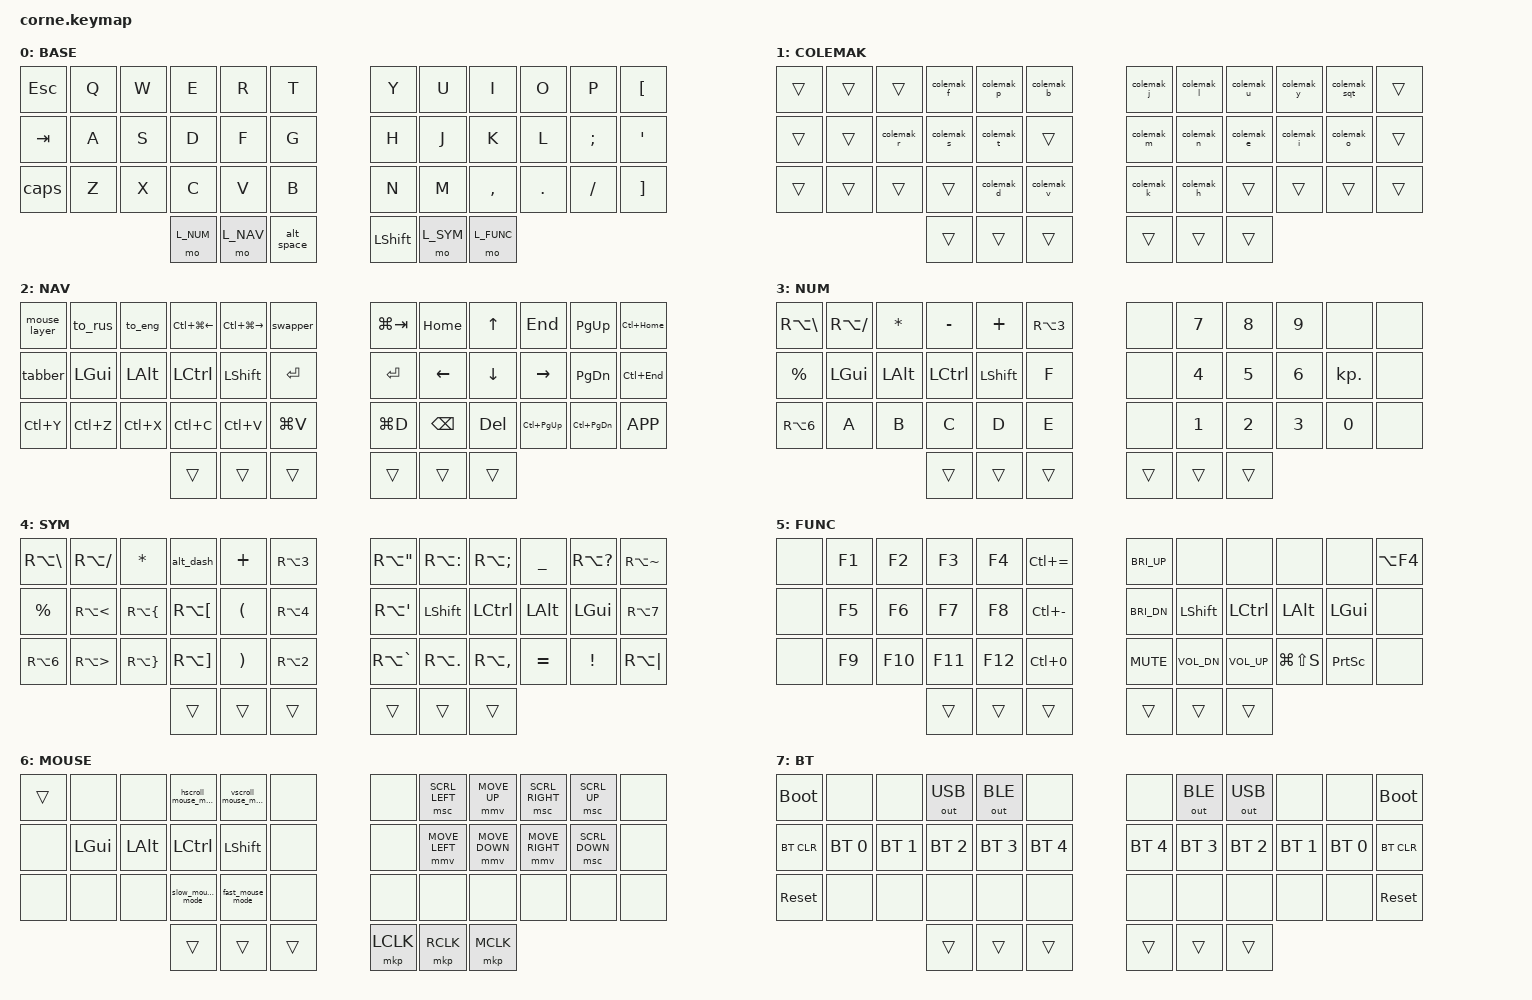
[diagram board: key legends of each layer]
#define ZMK_POINTING_DEFAULT_MOVE_VAL 600  // 600
#define ZMK_POINTING_DEFAULT_SCRL_VAL 20   // 10

#include <behaviors/mouse_keys.dtsi>
#include <dt-bindings/zmk/mouse.h>
#include <behaviors.dtsi>
#include <dt-bindings/zmk/bt.h>
#include <dt-bindings/zmk/keys.h>
#include <dt-bindings/zmk/outputs.h>
#include <dt-bindings/zmk/pointing.h>
#include <behaviors/caps_word_ru.dtsi>

#define L_BASE    0
#define L_COLEMAK 1
#define L_NAV     2
#define L_NUM     3
#define L_SYM     4
#define L_FUNC    5
#define L_MOUSE   6
#define L_BT      7

&lt { quick-tap-ms = <200>; };

&mt { quick-tap-ms = <200>; };

&mmv {
    acceleration-exponent = <1>;  // 1
    time-to-max-speed-ms = <0>;   // 0
    delay-ms = <0>;
    trigger-period-ms = <8>;      // 16
};

&msc {
    acceleration-exponent = <1>;  // 1
    time-to-max-speed-ms = <0>;   // 0
    delay-ms = <0>;
    trigger-period-ms = <8>;      // 16
};

/ {
    conditional_layers { compatible = "zmk,conditional-layers"; };

    macros {
        to_rus: to_rus {
            compatible = "zmk,behavior-macro";
            #binding-cells = <0>;
            bindings = <&kp LS(LC(N2)) &tog_off L_COLEMAK>;
            label = "TO_RUSSIAN";
        };

        to_qwerty: to_qwerty {
            compatible = "zmk,behavior-macro";
            #binding-cells = <0>;
            bindings = <&kp LS(LC(N1)) &tog_off L_COLEMAK>;
            label = "TO_QWERTY";
        };

        to_colemak: to_colemak {
            compatible = "zmk,behavior-macro";
            #binding-cells = <0>;
            bindings = <&kp LS(LC(N1)) &tog_on L_COLEMAK>;
            label = "TO_COLEMAK";
        };

        // F13
        slow_mouse_mode: slow_mouse_mode {
            compatible = "zmk,behavior-macro";
            #binding-cells = <0>;
            wait-ms = <0>;
            tap-ms  = <0>;
            bindings
                = <&macro_tap &kt_off F14 &kt_off F15 &kt_off F16 &kt_on F13>;
        };

        // F14
        fast_mouse_mode: fast_mouse_mode {
            compatible = "zmk,behavior-macro";
            #binding-cells = <0>;
            wait-ms = <0>;
            tap-ms  = <0>;
            bindings
                = <&macro_tap &kt_off F13 &kt_off F15 &kt_off F16 &kt_on F14>;
        };

        // F15
        hscroll_mouse_mode: hscroll_mouse_mode {
            compatible = "zmk,behavior-macro";
            #binding-cells = <0>;
            wait-ms = <0>;
            tap-ms  = <0>;
            bindings
                = <&macro_tap &kt_off F13 &kt_off F14 &kt_on F15>;
        };

        // F16
        vscroll_mouse_mode: vscroll_mouse_mode {
            compatible = "zmk,behavior-macro";
            #binding-cells = <0>;
            wait-ms = <0>;
            tap-ms  = <0>;
            bindings
                = <&macro_tap &kt_off F13 &kt_off F14 &kt_on F16>;
        };

        mouse_mode_reset: mouse_mode_reset {
            compatible = "zmk,behavior-macro";
            #binding-cells = <0>;
            wait-ms = <0>;
            tap-ms  = <0>;
            bindings = <&macro_tap
                &kt_off F13 &kt_off F14 &kt_off F15 &kt_off F16
            >;
        };

        mouse_layer_off: mouse_layer_off {
            compatible = "zmk,behavior-macro";
            #binding-cells = <0>;
            wait-ms = <0>;
            tap-ms  = <0>;
            bindings = <&macro_tap &mouse_mode_reset &tog_off L_MOUSE>;
        };
    };

    combos {
        compatible = "zmk,combos";

        bt_left_combo {
            bindings = <&mo L_BT>;
            key-positions = <36 37 38>;
        };

        bt_right_combo {
            bindings = <&mo L_BT>;
            key-positions = <39 40 41>;
        };
    };

    behaviors {
        swapper: swapper {
            compatible = "zmk,behavior-tri-state";
            label = "SWAPPER";
            #binding-cells = <0>;
            bindings = <&kt LALT>, <&kp TAB>, <&kt LALT>;

            ignored-key-positions = <8 19 20 21 39>;
        };

        tabber: tabber {
            compatible = "zmk,behavior-tri-state";
            label = "TABBER";
            #binding-cells = <0>;
            bindings = <&kt LCTRL>, <&kp TAB>, <&kt LCTRL>;

            ignored-key-positions = <8 16 19 20 21 39>;
        };

        mouse_layer: mouse_layer {
            compatible = "zmk,behavior-tri-state";
            label = "MOUSE_LAYER";
            #binding-cells = <0>;
            bindings = <&tog_on L_MOUSE>, <&mouse_mode_reset>, <&mouse_layer_off>;

            ignored-layers = <L_MOUSE>;
            ignored-key-positions = <3 4 7 8 9 10 13 14 15 16 19 20 21 22 27 28 39 40 41>;
        };

        alt_space: alt_space {
            compatible = "zmk,behavior-mod-morph";
            #binding-cells = <0>;
            bindings = <&kp SPACE>, <&kp RA(SPACE)>;

            mods = <(MOD_LALT|MOD_LCTL)>;
            label = "ALT_SPACE";
        };

        alt_dash: alt_dash {
            compatible = "zmk,behavior-mod-morph";
            #binding-cells = <0>;
            bindings = <&kp MINUS>, <&kp RA(MINUS)>;

            mods = <(MOD_LSFT)>;
            label = "ALT_DASH";
        };

        caps: caps {
            compatible = "zmk,behavior-mod-morph";
            label = "CAPS";
            bindings = <&caps_word_ru>, <&kp CAPS>;

            #binding-cells = <0>;
            mods = <(MOD_LSFT)>;
        };

        kt_on: key_toggle_on_only {
            compatible = "zmk,behavior-key-toggle";
            #binding-cells = <1>;
            toggle-mode = "on";
        };

        kt_off: key_toggle_off_only {
            compatible = "zmk,behavior-key-toggle";
            #binding-cells = <1>;
            toggle-mode = "off";
        };

        tog_on: layer_toggle_on_only {
            compatible = "zmk,behavior-toggle-layer";
            #binding-cells = <1>;
            toggle-mode = "on";
        };

        tog_off: layer_toggle_off_only {
            compatible = "zmk,behavior-toggle-layer";
            #binding-cells = <1>;
            toggle-mode = "off";
        };

        // Colemak Mod-DH
        to_eng: to_eng {
            compatible = "zmk,behavior-mod-morph";
            bindings = <&to_qwerty>, <&to_colemak>;

            #binding-cells = <0>;
            mods = <MOD_LSFT>;
        };
        
        colemak_f: colemak_f {
            compatible = "zmk,behavior-mod-morph";
            bindings = <&kp F>, <&kp E>;

            #binding-cells = <0>;
            mods = <(MOD_LCTL|MOD_LALT|MOD_LGUI)>;
            keep-mods = <(MOD_LCTL|MOD_LALT|MOD_LGUI)>;
        };

        colemak_p: colemak_p {
            compatible = "zmk,behavior-mod-morph";
            label = "COLEMAK_P";
            bindings = <&kp P>, <&kp R>;

            #binding-cells = <0>;
            mods = <(MOD_LCTL|MOD_LALT|MOD_LGUI)>;
            keep-mods = <(MOD_LCTL|MOD_LALT|MOD_LGUI)>;
        };

        colemak_b: colemak_b {
            compatible = "zmk,behavior-mod-morph";
            label = "COLEMAK_B";
            bindings = <&kp B>, <&kp T>;

            #binding-cells = <0>;
            mods = <(MOD_LCTL|MOD_LALT|MOD_LGUI)>;
            keep-mods = <(MOD_LCTL|MOD_LALT|MOD_LGUI)>;
        };

        colemak_r: colemak_r {
            compatible = "zmk,behavior-mod-morph";
            label = "COLEMAK_R";
            bindings = <&kp R>, <&kp S>;

            #binding-cells = <0>;
            mods = <(MOD_LCTL|MOD_LALT|MOD_LGUI)>;
            keep-mods = <(MOD_LCTL|MOD_LALT|MOD_LGUI)>;
        };

        colemak_s: colemak_s {
            compatible = "zmk,behavior-mod-morph";
            label = "COLEMAK_S";
            bindings = <&kp S>, <&kp D>;

            #binding-cells = <0>;
            mods = <(MOD_LCTL|MOD_LALT|MOD_LGUI)>;
            keep-mods = <(MOD_LCTL|MOD_LALT|MOD_LGUI)>;
        };

        colemak_t: colemak_t {
            compatible = "zmk,behavior-mod-morph";
            label = "COLEMAK_T";
            bindings = <&kp T>, <&kp F>;

            #binding-cells = <0>;
            mods = <(MOD_LCTL|MOD_LALT|MOD_LGUI)>;
            keep-mods = <(MOD_LCTL|MOD_LALT|MOD_LGUI)>;
        };

        colemak_d: colemak_d {
            compatible = "zmk,behavior-mod-morph";
            label = "COLEMAK_D";
            bindings = <&kp D>, <&kp V>;

            #binding-cells = <0>;
            mods = <(MOD_LCTL|MOD_LALT|MOD_LGUI)>;
            keep-mods = <(MOD_LCTL|MOD_LALT|MOD_LGUI)>;
        };

        colemak_v: colemak_v {
            compatible = "zmk,behavior-mod-morph";
            label = "COLEMAK_V";
            bindings = <&kp V>, <&kp B>;

            #binding-cells = <0>;
            mods = <(MOD_LCTL|MOD_LALT|MOD_LGUI)>;
            keep-mods = <(MOD_LCTL|MOD_LALT|MOD_LGUI)>;
        };

        colemak_j: colemak_j {
            compatible = "zmk,behavior-mod-morph";
            label = "COLEMAK_J";
            bindings = <&kp J>, <&kp Y>;

            #binding-cells = <0>;
            mods = <(MOD_LCTL|MOD_LALT|MOD_LGUI)>;
            keep-mods = <(MOD_LCTL|MOD_LALT|MOD_LGUI)>;
        };

        colemak_l: colemak_l {
            compatible = "zmk,behavior-mod-morph";
            label = "COLEMAK_L";
            bindings = <&kp L>, <&kp U>;

            #binding-cells = <0>;
            mods = <(MOD_LCTL|MOD_LALT|MOD_LGUI)>;
            keep-mods = <(MOD_LCTL|MOD_LALT|MOD_LGUI)>;
        };

        colemak_u: colemak_u {
            compatible = "zmk,behavior-mod-morph";
            label = "COLEMAK_U";
            bindings = <&kp U>, <&kp I>;

            #binding-cells = <0>;
            mods = <(MOD_LCTL|MOD_LALT|MOD_LGUI)>;
            keep-mods = <(MOD_LCTL|MOD_LALT|MOD_LGUI)>;
        };

        colemak_y: colemak_y {
            compatible = "zmk,behavior-mod-morph";
            label = "COLEMAK_Y";
            bindings = <&kp Y>, <&kp O>;

            #binding-cells = <0>;
            mods = <(MOD_LCTL|MOD_LALT|MOD_LGUI)>;
            keep-mods = <(MOD_LCTL|MOD_LALT|MOD_LGUI)>;
        };

        colemak_semi: colemak_semi {
            compatible = "zmk,behavior-mod-morph";
            label = "COLEMAK_SEMI";
            bindings = <&kp SEMI>, <&kp P>;

            #binding-cells = <0>;
            mods = <(MOD_LCTL|MOD_LALT|MOD_LGUI)>;
            keep-mods = <(MOD_LCTL|MOD_LALT|MOD_LGUI)>;
        };

        colemak_m: colemak_m {
            compatible = "zmk,behavior-mod-morph";
            label = "COLEMAK_M";
            bindings = <&kp M>, <&kp H>;

            #binding-cells = <0>;
            mods = <(MOD_LCTL|MOD_LALT|MOD_LGUI)>;
            keep-mods = <(MOD_LCTL|MOD_LALT|MOD_LGUI)>;
        };

        colemak_n: colemak_n {
            compatible = "zmk,behavior-mod-morph";
            label = "COLEMAK_N";
            bindings = <&kp N>, <&kp J>;

            #binding-cells = <0>;
            mods = <(MOD_LCTL|MOD_LALT|MOD_LGUI)>;
            keep-mods = <(MOD_LCTL|MOD_LALT|MOD_LGUI)>;
        };

        colemak_e: colemak_e {
            compatible = "zmk,behavior-mod-morph";
            label = "COLEMAK_E";
            bindings = <&kp E>, <&kp K>;

            #binding-cells = <0>;
            mods = <(MOD_LCTL|MOD_LALT|MOD_LGUI)>;
            keep-mods = <(MOD_LCTL|MOD_LALT|MOD_LGUI)>;
        };

        colemak_i: colemak_i {
            compatible = "zmk,behavior-mod-morph";
            label = "COLEMAK_I";
            bindings = <&kp I>, <&kp L>;

            #binding-cells = <0>;
            mods = <(MOD_LCTL|MOD_LALT|MOD_LGUI)>;
            keep-mods = <(MOD_LCTL|MOD_LALT|MOD_LGUI)>;
        };

        colemak_o: colemak_o {
            compatible = "zmk,behavior-mod-morph";
            label = "COLEMAK_O";
            bindings = <&kp O>, <&kp SEMI>;

            #binding-cells = <0>;
            mods = <(MOD_LCTL|MOD_LALT|MOD_LGUI)>;
            keep-mods = <(MOD_LCTL|MOD_LALT|MOD_LGUI)>;
        };

        colemak_k: colemak_k {
            compatible = "zmk,behavior-mod-morph";
            label = "COLEMAK_K";
            bindings = <&kp K>, <&kp N>;

            #binding-cells = <0>;
            mods = <(MOD_LCTL|MOD_LALT|MOD_LGUI)>;
            keep-mods = <(MOD_LCTL|MOD_LALT|MOD_LGUI)>;
        };

        colemak_h: colemak_h {
            compatible = "zmk,behavior-mod-morph";
            label = "COLEMAK_H";
            bindings = <&kp H>, <&kp M>;

            #binding-cells = <0>;
            mods = <(MOD_LCTL|MOD_LALT|MOD_LGUI)>;
            keep-mods = <(MOD_LCTL|MOD_LALT|MOD_LGUI)>;
        };
    };

    keymap {
        compatible = "zmk,keymap";

        BASE {
            bindings = <
&kp ESC  &kp Q  &kp W  &kp E      &kp R      &kp T       &kp Y      &kp U      &kp I       &kp O    &kp P     &kp LBKT
&kp TAB  &kp A  &kp S  &kp D      &kp F      &kp G       &kp H      &kp J      &kp K       &kp L    &kp SEMI  &kp SQT
&caps    &kp Z  &kp X  &kp C      &kp V      &kp B       &kp N      &kp M      &kp COMMA   &kp DOT  &kp FSLH  &kp RBKT
                       &mo L_NUM  &mo L_NAV  &alt_space  &kp LSHFT  &mo L_SYM  &mo L_FUNC
            >;
        };

        COLEMAK {
            bindings = <
&trans  &trans  &trans      &colemak_f  &colemak_p  &colemak_b  &colemak_j  &colemak_l  &colemak_u  &colemak_y  &colemak_sqt  &trans
&trans  &trans  &colemak_r  &colemak_s  &colemak_t  &trans      &colemak_m  &colemak_n  &colemak_e  &colemak_i  &colemak_o    &trans
&trans  &trans  &trans      &trans      &colemak_d  &colemak_v  &colemak_k  &colemak_h  &trans      &trans      &trans        &trans
                            &trans      &trans      &trans      &trans      &trans      &trans
            >;
        };

        NAV {
            bindings = <
&mouse_layer  &to_rus    &to_eng    &kp LC(LG(LEFT))  &kp LC(LG(RIGHT))  &swapper   &kp LG(TAB)  &kp HOME  &kp UP    &kp END        &kp PG_UP      &kp LC(HOME)
&tabber       &kp LGUI   &kp LALT   &kp LCTRL         &kp LSHFT          &kp RET    &kp RET      &kp LEFT  &kp DOWN  &kp RIGHT      &kp PG_DN      &kp LC(END)
&kp LC(Y)     &kp LC(Z)  &kp LC(X)  &kp LC(C)         &kp LC(V)          &kp LG(V)  &kp LG(D)    &kp BSPC  &kp DEL   &kp LC(PG_UP)  &kp LC(PG_DN)  &kp K_APP
                                    &trans            &trans             &trans     &trans       &trans    &trans
            >;
        };

        NUM {
            bindings = <
&kp RA(BACKSLASH)  &kp RA(SLASH)  &kp ASTRK  &kp MINUS  &kp PLUS   &kp RA(N3)  &none   &kp N7  &kp N8  &kp N9  &none       &none
&kp PERCENT        &kp LGUI       &kp LALT   &kp LCTRL  &kp LSHFT  &kp F       &none   &kp N4  &kp N5  &kp N6  &kp KP_DOT  &none
&kp RA(N6)         &kp A          &kp B      &kp C      &kp D      &kp E       &none   &kp N1  &kp N2  &kp N3  &kp N0      &none
                                             &trans     &trans     &trans      &trans  &trans  &trans
            >;
        };

        SYM {
            bindings = <
&kp RA(BACKSLASH)  &kp RA(SLASH)         &kp ASTRK            &alt_dash              &kp PLUS  &kp RA(N3)  &kp RA(DOUBLE_QUOTES)  &kp RA(COLON)  &kp RA(SEMICOLON)  &kp UNDERSCORE  &kp RA(QUESTION)  &kp RA(TILDE)
&kp PERCENT        &kp RA(LESS_THAN)     &kp RA(LEFT_BRACE)   &kp RA(LEFT_BRACKET)   &kp LPAR  &kp RA(N4)  &kp RA(SINGLE_QUOTE)   &kp LSHFT      &kp LCTRL          &kp LALT        &kp LGUI          &kp RA(N7)
&kp RA(N6)         &kp RA(GREATER_THAN)  &kp RA(RIGHT_BRACE)  &kp RA(RIGHT_BRACKET)  &kp RPAR  &kp RA(N2)  &kp RA(GRAVE)          &kp RA(DOT)    &kp RA(COMMA)      &kp EQUAL       &kp EXCL          &kp RA(PIPE)
                                                              &trans                 &trans    &trans      &trans                 &trans         &trans
            >;
        };

        FUNC {
            bindings = <
&none  &kp F1  &kp F2   &kp F3   &kp F4   &kp LC(EQUAL)  &kp C_BRI_UP  &none         &none         &none          &none      &kp LA(F4)
&none  &kp F5  &kp F6   &kp F7   &kp F8   &kp LC(MINUS)  &kp C_BRI_DN  &kp LSHFT     &kp LCTRL     &kp LALT       &kp LGUI   &none
&none  &kp F9  &kp F10  &kp F11  &kp F12  &kp LC(N0)     &kp C_MUTE    &kp C_VOL_DN  &kp C_VOL_UP  &kp LG(LS(S))  &kp PSCRN  &none
                        &trans   &trans   &trans         &trans        &trans        &trans
            >;
        };

        MOUSE {
            bindings = <
&trans  &none     &none     &hscroll_mouse_mode  &vscroll_mouse_mode  &none   &none      &msc SCRL_LEFT  &mmv MOVE_UP    &msc SCRL_RIGHT  &msc SCRL_UP    &none
&none   &kp LGUI  &kp LALT  &kp LCTRL            &kp LSHFT            &none   &none      &mmv MOVE_LEFT  &mmv MOVE_DOWN  &mmv MOVE_RIGHT  &msc SCRL_DOWN  &none
&none   &none     &none     &slow_mouse_mode     &fast_mouse_mode     &none   &none      &none           &none           &none            &none           &none
                            &trans               &trans               &trans  &mkp LCLK  &mkp RCLK       &mkp MCLK
            >;
        };

        BT {
            bindings = <
&bootloader  &none         &none         &out OUT_USB  &out OUT_BLE  &none         &none         &out OUT_BLE  &out OUT_USB  &none         &none         &bootloader
&bt BT_CLR   &bt BT_SEL 0  &bt BT_SEL 1  &bt BT_SEL 2  &bt BT_SEL 3  &bt BT_SEL 4  &bt BT_SEL 4  &bt BT_SEL 3  &bt BT_SEL 2  &bt BT_SEL 1  &bt BT_SEL 0  &bt BT_CLR
&sys_reset   &none         &none         &none         &none         &none         &none         &none         &none         &none         &none         &sys_reset
                                         &trans        &trans        &trans        &trans        &trans        &trans
            >;
        };
    };
};
